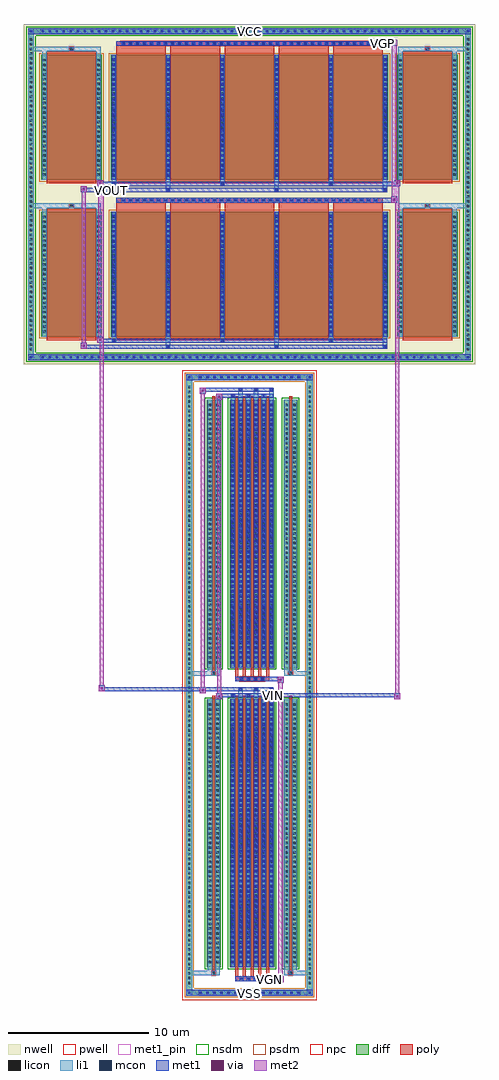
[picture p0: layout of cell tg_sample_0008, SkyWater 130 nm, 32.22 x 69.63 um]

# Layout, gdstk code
import gdstk
lib = gdstk.Library(unit=1e-6, precision=5e-09)
def R(c, l, rs):  # rectangles x0, y0, x1, y1
    for r in rs: c.add(gdstk.rectangle(r[:2], r[2:], *l))
def A(c, l, x, y, w, h, nx, ny, dx, dy):  # array of equal rectangles
    R(c, l, [(x+i*dx, y+j*dy, x+i*dx+w, y+j*dy+h) for i in range(nx) for j in range(ny)])
def P(c, l, *ps):  # polygons
    for p in ps: c.add(gdstk.Polygon(p, *l))
nwell = (64, 20)
pwell = (64, 44)
diff = (65, 20)
poly = (66, 20)
licon = (66, 44)
li1 = (67, 20)
mcon = (67, 44)
met1_pin = (68, 16)
met1 = (68, 20)
via = (68, 44)
met2 = (69, 20)
nsdm = (93, 44)
psdm = (94, 20)
npc = (95, 20)

tg_sample_0008 = lib.new_cell('tg_sample_0008')
R(tg_sample_0008, nwell, [(-16.11,22.87,16.11,47.16)])
R(tg_sample_0008, pwell, [(-4.81,-22.47,4.81,22.47)])
A(tg_sample_0008, diff, -3.705, -22.16, 0.41, 0.41, 15, 2, 0.5, 43.91)
A(tg_sample_0008, diff, -4.5, -21.455, 0.41, 0.41, 1, 126, 0, 0.34)
A(tg_sample_0008, diff, 4.09, -21.455, 0.41, 0.41, 1, 126, 0, 0.34)
A(tg_sample_0008, diff, -14.955, 23.18, 0.41, 0.41, 60, 2, 0.5, 23.26)
A(tg_sample_0008, diff, -15.8, 23.76, 0.41, 0.41, 1, 66, 0, 0.34)
A(tg_sample_0008, diff, 15.39, 23.76, 0.41, 0.41, 1, 66, 0, 0.34)
R(tg_sample_0008, diff, [(-3.705,-22.16,3.705,-21.75), (-4.5,-21.455,-4.09,21.455), (4.09,-21.455,4.5,21.455), (-3.05,-20.135,-2.05,-1.025), (-1.41,-20.135,1.79,-1.025), (2.43,-20.135,3.43,-1.025), (-3.05,1.245,-2.05,20.355), (-1.41,1.245,1.79,20.355), (2.43,1.245,3.43,20.355), (-3.705,21.75,3.705,22.16), (-14.955,23.18,14.955,23.59), (-15.8,23.76,-15.39,46.27), (15.39,23.76,15.8,46.27), (-14.86,24.855,-10.54,33.775), (-9.9,24.855,9.9,33.775), (10.54,24.855,14.86,33.775), (-14.86,36.035,-10.54,44.955), (-9.9,36.035,9.9,44.955), (10.54,36.035,14.86,44.955), (-14.955,46.44,14.955,46.85)])
P(tg_sample_0008, diff, [(4.5,22.16),(-4.5,22.16),(-4.5,-21.75),(-4.09,-21.75),(-4.09,21.75),(4.09,21.75),(4.09,-21.75),(-4.09,-21.75),(-4.5,-21.75),(-4.5,-22.16),(4.5,-22.16)],
  [(15.8,23.18),(-15.8,23.18),(-15.8,46.44),(-15.39,46.44),(-15.39,23.59),(15.39,23.59),(15.39,46.44),(-15.39,46.44),(-15.8,46.44),(-15.8,46.85),(15.8,46.85)])
A(tg_sample_0008, poly, -0.725, -21.12, 0.33, 0.33, 4, 2, 0.5, 21.38)
A(tg_sample_0008, poly, -1.02, -20.79, 0.22, 0.405, 5, 2, 0.55, 21.38)
A(tg_sample_0008, poly, -1.02, -20.385, 0.22, 19.61, 5, 2, 0.55, 21.38)
A(tg_sample_0008, poly, -9.51, 24.605, 3.54, 9.42, 5, 2, 3.87, 11.18)
A(tg_sample_0008, poly, -9.51, 34.025, 3.54, 0.4, 5, 2, 3.87, 11.18)
A(tg_sample_0008, poly, -9.165, 34.425, 0.33, 0.33, 37, 2, 0.5, 11.18)
R(tg_sample_0008, poly, [(-1.02,-21.12,1.4,-20.79), (-2.715,-20.715,-2.385,-20.385), (-2.715,-20.715,-2.385,-20.385), (2.765,-20.715,3.095,-20.385), (2.765,-20.715,3.095,-20.385), (-2.66,-20.385,-2.44,-0.775), (2.82,-20.385,3.04,-0.775), (-1.02,0.26,1.4,0.59), (-2.715,0.665,-2.385,0.995), (-2.715,0.665,-2.385,0.995), (2.765,0.665,3.095,0.995), (2.765,0.665,3.095,0.995), (-2.66,0.995,-2.44,20.605), (2.82,0.995,3.04,20.605), (-14.47,24.605,-10.93,34.025), (10.93,24.605,14.47,34.025), (-12.865,34.025,-12.535,34.355), (-12.865,34.025,-12.535,34.355), (12.535,34.025,12.865,34.355), (12.535,34.025,12.865,34.355), (-9.51,34.425,9.51,34.755), (-14.47,35.785,-10.93,45.205), (10.93,35.785,14.47,45.205), (-12.865,45.205,-12.535,45.535), (-12.865,45.205,-12.535,45.535), (12.535,45.205,12.865,45.535), (12.535,45.205,12.865,45.535), (-9.51,45.605,9.51,45.935)])
A(tg_sample_0008, licon, -3.585, -22.04, 0.17, 0.17, 15, 2, 0.5, 43.91)
A(tg_sample_0008, licon, -4.38, -21.335, 0.17, 0.17, 1, 126, 0, 0.34)
A(tg_sample_0008, licon, 4.21, -21.335, 0.17, 0.17, 1, 126, 0, 0.34)
A(tg_sample_0008, licon, -0.645, -21.04, 0.17, 0.17, 4, 2, 0.5, 21.38)
A(tg_sample_0008, licon, -2.91, -19.845, 0.17, 0.17, 1, 55, 0, 0.34)
A(tg_sample_0008, licon, -2.36, -19.845, 0.17, 0.17, 1, 55, 0, 0.34)
A(tg_sample_0008, licon, -1.27, -19.845, 0.17, 0.17, 6, 55, 0.55, 0.34)
A(tg_sample_0008, licon, 2.57, -19.845, 0.17, 0.17, 1, 55, 0, 0.34)
A(tg_sample_0008, licon, 3.12, -19.845, 0.17, 0.17, 1, 55, 0, 0.34)
A(tg_sample_0008, licon, -2.91, 1.535, 0.17, 0.17, 1, 55, 0, 0.34)
A(tg_sample_0008, licon, -2.36, 1.535, 0.17, 0.17, 1, 55, 0, 0.34)
A(tg_sample_0008, licon, -1.27, 1.535, 0.17, 0.17, 6, 55, 0.55, 0.34)
A(tg_sample_0008, licon, 2.57, 1.535, 0.17, 0.17, 1, 55, 0, 0.34)
A(tg_sample_0008, licon, 3.12, 1.535, 0.17, 0.17, 1, 55, 0, 0.34)
A(tg_sample_0008, licon, -14.835, 23.3, 0.17, 0.17, 60, 2, 0.5, 23.26)
A(tg_sample_0008, licon, -15.68, 23.88, 0.17, 0.17, 1, 66, 0, 0.34)
A(tg_sample_0008, licon, 15.51, 23.88, 0.17, 0.17, 1, 66, 0, 0.34)
A(tg_sample_0008, licon, -14.72, 25.15, 0.17, 0.17, 1, 25, 0, 0.34)
A(tg_sample_0008, licon, -10.85, 25.15, 0.17, 0.17, 1, 25, 0, 0.34)
A(tg_sample_0008, licon, -9.76, 25.15, 0.17, 0.17, 6, 25, 3.87, 0.34)
A(tg_sample_0008, licon, 10.68, 25.15, 0.17, 0.17, 1, 25, 0, 0.34)
A(tg_sample_0008, licon, 14.55, 25.15, 0.17, 0.17, 1, 25, 0, 0.34)
A(tg_sample_0008, licon, -9.085, 34.505, 0.17, 0.17, 37, 2, 0.5, 11.18)
A(tg_sample_0008, licon, -14.72, 36.33, 0.17, 0.17, 1, 25, 0, 0.34)
A(tg_sample_0008, licon, -10.85, 36.33, 0.17, 0.17, 1, 25, 0, 0.34)
A(tg_sample_0008, licon, -9.76, 36.33, 0.17, 0.17, 6, 25, 3.87, 0.34)
A(tg_sample_0008, licon, 10.68, 36.33, 0.17, 0.17, 1, 25, 0, 0.34)
A(tg_sample_0008, licon, 14.55, 36.33, 0.17, 0.17, 1, 25, 0, 0.34)
R(tg_sample_0008, licon, [(-2.635,-20.635,-2.465,-20.465), (2.845,-20.635,3.015,-20.465), (-2.635,0.745,-2.465,0.915), (2.845,0.745,3.015,0.915), (-12.785,34.105,-12.615,34.275), (12.615,34.105,12.785,34.275), (-12.785,45.285,-12.615,45.455), (12.615,45.285,12.785,45.455)])
A(tg_sample_0008, li1, -3.665, -22.12, 0.33, 0.33, 15, 2, 0.5, 43.91)
A(tg_sample_0008, li1, -4.46, -21.415, 0.33, 0.33, 1, 126, 0, 0.34)
A(tg_sample_0008, li1, 4.13, -21.415, 0.33, 0.33, 1, 126, 0, 0.34)
A(tg_sample_0008, li1, -0.725, -21.12, 0.33, 0.33, 4, 2, 0.5, 21.38)
A(tg_sample_0008, li1, -1.35, -20.135, 0.33, 19.11, 6, 2, 0.55, 21.38)
A(tg_sample_0008, li1, -2.99, -19.925, 0.33, 0.33, 1, 55, 0, 0.34)
A(tg_sample_0008, li1, -2.44, -19.925, 0.33, 0.33, 1, 55, 0, 0.34)
A(tg_sample_0008, li1, -1.35, -19.925, 0.33, 0.33, 6, 55, 0.55, 0.34)
A(tg_sample_0008, li1, 2.49, -19.925, 0.33, 0.33, 1, 55, 0, 0.34)
A(tg_sample_0008, li1, 3.04, -19.925, 0.33, 0.33, 1, 55, 0, 0.34)
A(tg_sample_0008, li1, -1.27, -19.845, 0.17, 0.17, 6, 52, 0.55, 0.36)
A(tg_sample_0008, li1, -1.27, -19.845, 0.17, 18.53, 6, 2, 0.55, 21.38)
A(tg_sample_0008, li1, -1.35, -1.025, 0.33, 0.375, 3, 2, 1.1, 21.38)
A(tg_sample_0008, li1, -0.8, -1.025, 0.33, 0.805, 3, 2, 1.1, 21.38)
A(tg_sample_0008, li1, -1.27, -0.82, 0.17, 0.17, 3, 2, 1.1, 21.38)
A(tg_sample_0008, li1, -0.72, -0.39, 0.17, 0.17, 3, 2, 1.1, 21.38)
A(tg_sample_0008, li1, -2.99, 1.455, 0.33, 0.33, 1, 55, 0, 0.34)
A(tg_sample_0008, li1, -2.44, 1.455, 0.33, 0.33, 1, 55, 0, 0.34)
A(tg_sample_0008, li1, -1.35, 1.455, 0.33, 0.33, 6, 55, 0.55, 0.34)
A(tg_sample_0008, li1, 2.49, 1.455, 0.33, 0.33, 1, 55, 0, 0.34)
A(tg_sample_0008, li1, 3.04, 1.455, 0.33, 0.33, 1, 55, 0, 0.34)
A(tg_sample_0008, li1, -1.27, 1.535, 0.17, 0.17, 6, 52, 0.55, 0.36)
A(tg_sample_0008, li1, -14.915, 23.22, 0.33, 0.33, 60, 2, 0.5, 23.26)
A(tg_sample_0008, li1, -15.76, 23.8, 0.33, 0.33, 1, 66, 0, 0.34)
A(tg_sample_0008, li1, 15.43, 23.8, 0.33, 0.33, 1, 66, 0, 0.34)
A(tg_sample_0008, li1, -5.97, 24.05, 0.33, 0.805, 3, 2, 7.74, 11.18)
A(tg_sample_0008, li1, -5.89, 24.05, 0.17, 0.17, 3, 2, 7.74, 11.18)
A(tg_sample_0008, li1, -9.84, 24.48, 0.33, 0.375, 3, 2, 7.74, 11.18)
A(tg_sample_0008, li1, -9.76, 24.48, 0.17, 0.17, 3, 2, 7.74, 11.18)
A(tg_sample_0008, li1, -9.84, 24.855, 0.33, 8.92, 6, 2, 3.87, 11.18)
A(tg_sample_0008, li1, -14.8, 25.07, 0.33, 0.33, 1, 25, 0, 0.34)
A(tg_sample_0008, li1, -10.93, 25.07, 0.33, 0.33, 1, 25, 0, 0.34)
A(tg_sample_0008, li1, -9.84, 25.07, 0.33, 0.33, 6, 25, 3.87, 0.34)
A(tg_sample_0008, li1, 10.6, 25.07, 0.33, 0.33, 1, 25, 0, 0.34)
A(tg_sample_0008, li1, 14.47, 25.07, 0.33, 0.33, 1, 25, 0, 0.34)
A(tg_sample_0008, li1, -9.76, 25.09, 0.17, 0.17, 6, 24, 3.87, 0.36)
A(tg_sample_0008, li1, -9.76, 25.09, 0.17, 8.45, 6, 2, 3.87, 11.18)
A(tg_sample_0008, li1, -9.165, 34.425, 0.33, 0.33, 37, 2, 0.5, 11.18)
A(tg_sample_0008, li1, -14.8, 36.25, 0.33, 0.33, 1, 25, 0, 0.34)
A(tg_sample_0008, li1, -10.93, 36.25, 0.33, 0.33, 1, 25, 0, 0.34)
A(tg_sample_0008, li1, -9.84, 36.25, 0.33, 0.33, 6, 25, 3.87, 0.34)
A(tg_sample_0008, li1, 10.6, 36.25, 0.33, 0.33, 1, 25, 0, 0.34)
A(tg_sample_0008, li1, 14.47, 36.25, 0.33, 0.33, 1, 25, 0, 0.34)
A(tg_sample_0008, li1, -9.76, 36.27, 0.17, 0.17, 6, 24, 3.87, 0.36)
R(tg_sample_0008, li1, [(-4.5,-22.16,-4.09,-21.75), (4.09,-22.16,4.5,-21.75), (-3.665,-22.12,3.665,-21.79), (-4.38,-22.04,-4.21,-21.87), (-4.38,-22.04,-4.21,-21.87), (4.21,-22.04,4.38,-21.87), (4.21,-22.04,4.38,-21.87), (-4.5,-21.75,-4.09,21.75), (4.09,-21.75,4.5,21.75), (-4.5,-20.715,-2.715,-20.385), (-2.99,-20.715,-2.715,-20.385), (-2.99,-20.715,-2.66,-20.135), (-2.715,-20.715,-2.385,-20.385), (-2.44,-20.715,-2.11,-20.135), (-2.385,-20.715,-2.11,-20.385), (2.49,-20.715,2.765,-20.385), (2.49,-20.715,2.82,-20.135), (2.765,-20.715,3.095,-20.385), (2.765,-20.715,4.5,-20.385), (3.04,-20.715,3.37,-20.135), (3.095,-20.715,3.37,-20.385), (-2.99,-20.135,-2.66,-1.025), (-2.44,-20.135,-2.11,-1.025), (2.49,-20.135,2.82,-1.025), (3.04,-20.135,3.37,-1.025), (-4.5,0.665,-2.715,0.995), (-2.99,0.665,-2.715,0.995), (-2.99,0.665,-2.66,1.245), (-2.715,0.665,-2.385,0.995), (-2.44,0.665,-2.11,1.245), (-2.385,0.665,-2.11,0.995), (2.49,0.665,2.765,0.995), (2.49,0.665,2.82,1.245), (2.765,0.665,3.095,0.995), (2.765,0.665,4.5,0.995), (3.04,0.665,3.37,1.245), (3.095,0.665,3.37,0.995), (-2.99,1.245,-2.66,20.355), (-2.44,1.245,-2.11,20.355), (2.49,1.245,2.82,20.355), (3.04,1.245,3.37,20.355), (-4.5,21.75,-4.09,22.16), (4.09,21.75,4.5,22.16), (-3.665,21.79,3.665,22.12), (-4.38,21.87,-4.21,22.04), (-4.38,21.87,-4.21,22.04), (4.21,21.87,4.38,22.04), (4.21,21.87,4.38,22.04), (-15.8,23.18,-15.39,23.59), (15.39,23.18,15.8,23.59), (-14.915,23.22,14.915,23.55), (-15.68,23.3,-15.51,23.47), (-15.68,23.3,-15.51,23.47), (15.51,23.3,15.68,23.47), (15.51,23.3,15.68,23.47), (-15.8,23.59,-15.39,46.44), (15.39,23.59,15.8,46.44), (-14.8,24.855,-14.47,33.775), (-10.93,24.855,-10.6,33.775), (10.6,24.855,10.93,33.775), (14.47,24.855,14.8,33.775), (-14.8,33.775,-14.47,34.355), (-10.93,33.775,-10.6,34.355), (10.6,33.775,10.93,34.355), (14.47,33.775,14.8,34.355), (-15.8,34.025,-12.865,34.355), (-14.8,34.025,-12.865,34.355), (-12.865,34.025,-12.535,34.355), (-12.535,34.025,-10.6,34.355), (10.6,34.025,12.535,34.355), (12.535,34.025,12.865,34.355), (12.535,34.025,15.8,34.355), (12.865,34.025,14.8,34.355), (-14.8,36.035,-14.47,44.955), (-10.93,36.035,-10.6,44.955), (10.6,36.035,10.93,44.955), (14.47,36.035,14.8,44.955), (-14.8,44.955,-14.47,45.535), (-10.93,44.955,-10.6,45.535), (10.6,44.955,10.93,45.535), (14.47,44.955,14.8,45.535), (-15.8,45.205,-12.865,45.535), (-14.8,45.205,-12.865,45.535), (-12.865,45.205,-12.535,45.535), (-12.535,45.205,-10.6,45.535), (10.6,45.205,12.535,45.535), (12.535,45.205,12.865,45.535), (12.535,45.205,15.8,45.535), (12.865,45.205,14.8,45.535), (-15.8,46.44,-15.39,46.85), (15.39,46.44,15.8,46.85), (-14.915,46.48,14.915,46.81), (-15.68,46.56,-15.51,46.73), (-15.68,46.56,-15.51,46.73), (15.51,46.56,15.68,46.73), (15.51,46.56,15.68,46.73)])
A(tg_sample_0008, mcon, -3.585, -22.04, 0.17, 0.17, 15, 2, 0.5, 43.91)
A(tg_sample_0008, mcon, -0.645, -21.04, 0.17, 0.17, 4, 2, 0.5, 21.38)
A(tg_sample_0008, mcon, -1.27, -19.845, 0.17, 0.17, 6, 52, 0.55, 0.36)
A(tg_sample_0008, mcon, -1.27, -0.82, 0.17, 0.17, 3, 2, 1.1, 21.38)
A(tg_sample_0008, mcon, -0.72, -0.39, 0.17, 0.17, 3, 2, 1.1, 21.38)
A(tg_sample_0008, mcon, -1.27, 1.535, 0.17, 0.17, 6, 52, 0.55, 0.36)
A(tg_sample_0008, mcon, -14.835, 23.3, 0.17, 0.17, 60, 2, 0.5, 23.26)
A(tg_sample_0008, mcon, -5.89, 24.05, 0.17, 0.17, 3, 2, 7.74, 11.18)
A(tg_sample_0008, mcon, -9.76, 24.48, 0.17, 0.17, 3, 2, 7.74, 11.18)
A(tg_sample_0008, mcon, -9.76, 25.09, 0.17, 0.17, 6, 24, 3.87, 0.36)
A(tg_sample_0008, mcon, -9.085, 34.505, 0.17, 0.17, 37, 2, 0.5, 11.18)
A(tg_sample_0008, mcon, -9.76, 36.27, 0.17, 0.17, 6, 24, 3.87, 0.36)
R(tg_sample_0008, mcon, [(-4.38,-22.04,-4.21,-21.87), (4.21,-22.04,4.38,-21.87), (-4.38,21.87,-4.21,22.04), (4.21,21.87,4.38,22.04), (-15.68,23.3,-15.51,23.47), (15.51,23.3,15.68,23.47), (-15.68,46.56,-15.51,46.73), (15.51,46.56,15.68,46.73)])
R(tg_sample_0008, met1_pin, [(-0.25,-22.25,0.25,-21.75), (1.265,-21.12,1.535,-20.85), (1.575,-0.88,1.845,-0.61), (-9.955,35.17,-9.685,35.44), (9.375,45.605,9.645,45.875), (-0.25,46.35,0.25,46.85)])
A(tg_sample_0008, met1, -3.645, -22.1, 0.29, 0.29, 15, 2, 0.5, 43.91)
A(tg_sample_0008, met1, -0.705, -21.1, 0.29, 0.29, 4, 2, 0.5, 21.38)
A(tg_sample_0008, met1, -1.33, -20.135, 0.29, 19.11, 6, 2, 0.55, 21.38)
A(tg_sample_0008, met1, -1.33, -19.905, 0.29, 0.29, 6, 52, 0.55, 0.36)
A(tg_sample_0008, met1, -1.33, -0.88, 0.29, 0.29, 3, 2, 1.1, 21.38)
A(tg_sample_0008, met1, -0.78, -0.45, 0.29, 0.29, 3, 2, 1.1, 21.38)
A(tg_sample_0008, met1, -1.33, 1.475, 0.29, 0.29, 6, 52, 0.55, 0.36)
A(tg_sample_0008, met1, -14.895, 23.24, 0.29, 0.29, 60, 2, 0.5, 23.26)
A(tg_sample_0008, met1, -5.95, 23.99, 0.29, 0.29, 3, 2, 7.74, 11.18)
A(tg_sample_0008, met1, -9.82, 24.42, 0.29, 0.29, 3, 2, 7.74, 11.18)
A(tg_sample_0008, met1, -9.82, 24.855, 0.29, 8.92, 6, 2, 3.87, 11.18)
A(tg_sample_0008, met1, -9.82, 25.03, 0.29, 0.29, 6, 24, 3.87, 0.36)
A(tg_sample_0008, met1, -9.145, 34.445, 0.29, 0.29, 37, 2, 0.5, 11.18)
A(tg_sample_0008, met1, -9.82, 36.21, 0.29, 0.29, 6, 24, 3.87, 0.36)
R(tg_sample_0008, met1, [(-4.5,-22.16,-4.09,-21.75), (-4.5,-22.16,-4.09,-21.75), (-4.09,-22.16,4.09,-21.75), (4.09,-22.16,4.5,-21.75), (4.09,-22.16,4.5,-21.75), (-4.44,-22.1,-4.15,-21.81), (4.15,-22.1,4.44,-21.81), (2,-21.22,2.43,-20.79), (-1.02,-21.12,1.4,-20.79), (1.4,-21.12,2.43,-20.79), (-2.36,-1.02,-1.93,-0.59), (10.32,-1.02,10.75,-0.59), (-2.36,-0.88,-1.33,-0.59), (-1.33,-0.88,1.71,-0.59), (1.71,-0.88,10.75,-0.59), (-3.56,-0.59,-3.13,-0.16), (-10.75,-0.45,-10.32,-0.02), (-10.75,-0.45,-1.33,-0.16), (-3.56,-0.45,-1.33,-0.16), (-1.33,-0.45,1.71,-0.16), (2,0.16,2.43,0.59), (-1.02,0.26,1.4,0.59), (1.4,0.26,2.43,0.59), (-2.36,20.36,-1.93,20.79), (-2.36,20.5,-1.33,20.79), (-1.33,20.5,1.71,20.79), (-3.56,20.79,-3.13,21.22), (-3.56,20.93,-1.33,21.22), (-1.33,20.93,1.71,21.22), (-4.5,21.75,-4.09,22.16), (-4.5,21.75,-4.09,22.16), (-4.09,21.75,4.09,22.16), (4.09,21.75,4.5,22.16), (4.09,21.75,4.5,22.16), (-4.44,21.81,-4.15,22.1), (4.15,21.81,4.44,22.1), (-15.8,23.18,-15.39,23.59), (-15.8,23.18,-15.39,23.59), (-15.39,23.18,15.39,23.59), (15.39,23.18,15.8,23.59), (15.39,23.18,15.8,23.59), (-15.74,23.24,-15.45,23.53), (15.45,23.24,15.74,23.53), (-12.05,23.99,-11.62,24.42), (-12.05,23.99,-9.82,24.28), (-9.82,23.99,9.82,24.28), (-10.85,24.42,-10.42,24.85), (-10.85,24.42,-9.82,24.71), (-9.82,24.42,9.82,24.71), (-9.51,34.425,9.51,34.755), (9.51,34.425,10.54,34.755), (10.11,34.425,10.54,34.855), (-10.75,35.03,-10.32,35.46), (-12.05,35.17,-11.62,35.6), (-12.05,35.17,-9.82,35.46), (-10.75,35.17,-9.82,35.46), (-9.82,35.17,9.82,35.46), (-10.85,35.6,-10.42,36.03), (-10.85,35.6,-9.82,35.89), (-9.82,35.6,9.82,35.89), (9.82,35.6,10.75,35.89), (10.32,35.6,10.75,36.03), (-9.51,45.605,9.51,45.935), (9.51,45.605,10.54,45.935), (10.11,45.605,10.54,46.035), (-15.8,46.44,-15.39,46.85), (-15.8,46.44,-15.39,46.85), (-15.39,46.44,15.39,46.85), (15.39,46.44,15.8,46.85), (15.39,46.44,15.8,46.85), (-15.74,46.5,-15.45,46.79), (15.45,46.5,15.74,46.79)])
R(tg_sample_0008, via, [(2.14,-21.08,2.29,-20.93), (-2.22,-0.88,-2.07,-0.73), (10.46,-0.88,10.61,-0.73), (-3.42,-0.45,-3.27,-0.3), (-10.61,-0.31,-10.46,-0.16), (2.14,0.3,2.29,0.45), (-2.22,20.5,-2.07,20.65), (-3.42,20.93,-3.27,21.08), (-11.91,24.13,-11.76,24.28), (-10.71,24.56,-10.56,24.71), (10.25,34.565,10.4,34.715), (-10.61,35.17,-10.46,35.32), (-11.91,35.31,-11.76,35.46), (-10.71,35.74,-10.56,35.89), (10.46,35.74,10.61,35.89), (10.25,45.745,10.4,45.895)])
R(tg_sample_0008, met2, [(2,-21.22,2.43,-20.79), (2.05,-21.22,2.38,0.59), (2.38,-21.22,2.43,-20.79), (2.05,-21.17,2.38,-20.84), (-2.36,-1.02,-1.93,-0.59), (-2.29,-1.02,-2,20.79), (-2,-1.02,-1.93,-0.59), (10.32,-1.02,10.75,-0.59), (10.39,-1.02,10.68,36.03), (10.68,-1.02,10.75,-0.59), (-2.31,-0.97,-1.98,-0.64), (10.37,-0.97,10.7,-0.64), (-3.56,-0.59,-3.13,-0.16), (-3.49,-0.59,-3.2,21.22), (-3.2,-0.59,-3.13,-0.16), (-3.51,-0.54,-3.18,-0.21), (-10.75,-0.45,-10.32,-0.02), (-10.68,-0.45,-10.39,35.46), (-10.39,-0.45,-10.32,-0.02), (-10.7,-0.4,-10.37,-0.07), (2,0.16,2.43,0.59), (2.38,0.16,2.43,0.59), (2.05,0.21,2.38,0.54), (-2.36,20.36,-1.93,20.79), (-2,20.36,-1.93,20.79), (-2.31,20.41,-1.98,20.74), (-3.56,20.79,-3.13,21.22), (-3.2,20.79,-3.13,21.22), (-3.51,20.84,-3.18,21.17), (-12.05,23.99,-11.62,24.42), (-11.98,23.99,-11.69,35.6), (-11.69,23.99,-11.62,24.42), (-12,24.04,-11.67,24.37), (-10.85,24.42,-10.42,24.85), (-10.78,24.42,-10.49,36.03), (-10.49,24.42,-10.42,24.85), (-10.8,24.47,-10.47,24.8), (10.11,34.425,10.54,34.855), (10.16,34.425,10.49,46.035), (10.49,34.425,10.54,34.855), (10.16,34.475,10.49,34.805), (-10.75,35.03,-10.32,35.46), (-10.39,35.03,-10.32,35.46), (-10.7,35.08,-10.37,35.41), (-12.05,35.17,-11.62,35.6), (-11.69,35.17,-11.62,35.6), (-12,35.22,-11.67,35.55), (-10.85,35.6,-10.42,36.03), (-10.49,35.6,-10.42,36.03), (10.32,35.6,10.75,36.03), (10.68,35.6,10.75,36.03), (-10.8,35.65,-10.47,35.98), (10.37,35.65,10.7,35.98), (10.11,45.605,10.54,46.035), (10.49,45.605,10.54,46.035), (10.16,45.655,10.49,45.985)])
R(tg_sample_0008, nsdm, [(-3.18,-20.265,-1.92,-0.895), (-1.54,-20.265,1.92,-0.895), (2.3,-20.265,3.56,-0.895), (-3.18,1.115,-1.92,20.485), (-1.54,1.115,1.92,20.485), (2.3,1.115,3.56,20.485)])
P(tg_sample_0008, nsdm, [(15.93,23.05),(-15.93,23.05),(-15.93,46.31),(-15.26,46.31),(-15.26,23.72),(15.26,23.72),(15.26,46.31),(-15.26,46.31),(-15.93,46.31),(-15.93,46.98),(15.93,46.98)])
R(tg_sample_0008, psdm, [(-14.99,24.725,-10.41,33.905), (-10.03,24.725,10.03,33.905), (10.41,24.725,14.99,33.905), (-14.99,35.905,-10.41,45.085), (-10.03,35.905,10.03,45.085), (10.41,35.905,14.99,45.085)])
P(tg_sample_0008, psdm, [(4.63,22.29),(-4.63,22.29),(-4.63,-21.62),(-3.96,-21.62),(-3.96,21.62),(3.96,21.62),(3.96,-21.62),(-3.96,-21.62),(-4.63,-21.62),(-4.63,-22.29),(4.63,-22.29)])
A(tg_sample_0008, npc, -0.745, -21.14, 0.37, 0.37, 4, 2, 0.5, 21.38)
A(tg_sample_0008, npc, -9.185, 34.405, 0.37, 0.37, 37, 2, 0.5, 11.18)
R(tg_sample_0008, npc, [(-0.745,-21.14,0.125,-20.77), (-0.745,-21.14,0.125,-20.77), (-0.245,-21.14,0.625,-20.77), (-0.245,-21.14,0.625,-20.77), (0.255,-21.14,1.125,-20.77), (0.255,-21.14,1.125,-20.77), (-2.735,-20.735,-2.365,-20.365), (2.745,-20.735,3.115,-20.365), (-0.745,0.24,0.125,0.61), (-0.745,0.24,0.125,0.61), (-0.245,0.24,0.625,0.61), (-0.245,0.24,0.625,0.61), (0.255,0.24,1.125,0.61), (0.255,0.24,1.125,0.61), (-2.735,0.645,-2.365,1.015), (2.745,0.645,3.115,1.015), (-12.885,34.005,-12.515,34.375), (12.515,34.005,12.885,34.375), (-9.185,34.405,-8.315,34.775), (-9.185,34.405,-8.315,34.775), (-8.685,34.405,-7.815,34.775), (-8.685,34.405,-7.815,34.775), (-8.185,34.405,-7.315,34.775), (-8.185,34.405,-7.315,34.775), (-7.685,34.405,-6.815,34.775), (-7.685,34.405,-6.815,34.775), (-7.185,34.405,-6.315,34.775), (-7.185,34.405,-6.315,34.775), (-6.685,34.405,-5.815,34.775), (-6.685,34.405,-5.815,34.775), (-6.185,34.405,-5.315,34.775), (-6.185,34.405,-5.315,34.775), (-5.685,34.405,-4.815,34.775), (-5.685,34.405,-4.815,34.775), (-5.185,34.405,-4.315,34.775), (-5.185,34.405,-4.315,34.775), (-4.685,34.405,-3.815,34.775), (-4.685,34.405,-3.815,34.775), (-4.185,34.405,-3.315,34.775), (-4.185,34.405,-3.315,34.775), (-3.685,34.405,-2.815,34.775), (-3.685,34.405,-2.815,34.775), (-3.185,34.405,-2.315,34.775), (-3.185,34.405,-2.315,34.775), (-2.685,34.405,-1.815,34.775), (-2.685,34.405,-1.815,34.775), (-2.185,34.405,-1.315,34.775), (-2.185,34.405,-1.315,34.775), (-1.685,34.405,-0.815,34.775), (-1.685,34.405,-0.815,34.775), (-1.185,34.405,-0.315,34.775), (-1.185,34.405,-0.315,34.775), (-0.685,34.405,0.185,34.775), (-0.685,34.405,0.185,34.775), (-0.185,34.405,0.685,34.775), (-0.185,34.405,0.685,34.775), (0.315,34.405,1.185,34.775), (0.315,34.405,1.185,34.775), (0.815,34.405,1.685,34.775), (0.815,34.405,1.685,34.775), (1.315,34.405,2.185,34.775), (1.315,34.405,2.185,34.775), (1.815,34.405,2.685,34.775), (1.815,34.405,2.685,34.775), (2.315,34.405,3.185,34.775), (2.315,34.405,3.185,34.775), (2.815,34.405,3.685,34.775), (2.815,34.405,3.685,34.775), (3.315,34.405,4.185,34.775), (3.315,34.405,4.185,34.775), (3.815,34.405,4.685,34.775), (3.815,34.405,4.685,34.775), (4.315,34.405,5.185,34.775), (4.315,34.405,5.185,34.775), (4.815,34.405,5.685,34.775), (4.815,34.405,5.685,34.775), (5.315,34.405,6.185,34.775), (5.315,34.405,6.185,34.775), (5.815,34.405,6.685,34.775), (5.815,34.405,6.685,34.775), (6.315,34.405,7.185,34.775), (6.315,34.405,7.185,34.775), (6.815,34.405,7.685,34.775), (6.815,34.405,7.685,34.775), (7.315,34.405,8.185,34.775), (7.315,34.405,8.185,34.775), (7.815,34.405,8.685,34.775), (7.815,34.405,8.685,34.775), (8.315,34.405,9.185,34.775), (8.315,34.405,9.185,34.775), (-12.885,45.185,-12.515,45.555), (12.515,45.185,12.885,45.555), (-9.185,45.585,-8.315,45.955), (-9.185,45.585,-8.315,45.955), (-8.685,45.585,-7.815,45.955), (-8.685,45.585,-7.815,45.955), (-8.185,45.585,-7.315,45.955), (-8.185,45.585,-7.315,45.955), (-7.685,45.585,-6.815,45.955), (-7.685,45.585,-6.815,45.955), (-7.185,45.585,-6.315,45.955), (-7.185,45.585,-6.315,45.955), (-6.685,45.585,-5.815,45.955), (-6.685,45.585,-5.815,45.955), (-6.185,45.585,-5.315,45.955), (-6.185,45.585,-5.315,45.955), (-5.685,45.585,-4.815,45.955), (-5.685,45.585,-4.815,45.955), (-5.185,45.585,-4.315,45.955), (-5.185,45.585,-4.315,45.955), (-4.685,45.585,-3.815,45.955), (-4.685,45.585,-3.815,45.955), (-4.185,45.585,-3.315,45.955), (-4.185,45.585,-3.315,45.955), (-3.685,45.585,-2.815,45.955), (-3.685,45.585,-2.815,45.955), (-3.185,45.585,-2.315,45.955), (-3.185,45.585,-2.315,45.955), (-2.685,45.585,-1.815,45.955), (-2.685,45.585,-1.815,45.955), (-2.185,45.585,-1.315,45.955), (-2.185,45.585,-1.315,45.955), (-1.685,45.585,-0.815,45.955), (-1.685,45.585,-0.815,45.955), (-1.185,45.585,-0.315,45.955), (-1.185,45.585,-0.315,45.955), (-0.685,45.585,0.185,45.955), (-0.685,45.585,0.185,45.955), (-0.185,45.585,0.685,45.955), (-0.185,45.585,0.685,45.955), (0.315,45.585,1.185,45.955), (0.315,45.585,1.185,45.955), (0.815,45.585,1.685,45.955), (0.815,45.585,1.685,45.955), (1.315,45.585,2.185,45.955), (1.315,45.585,2.185,45.955), (1.815,45.585,2.685,45.955), (1.815,45.585,2.685,45.955), (2.315,45.585,3.185,45.955), (2.315,45.585,3.185,45.955), (2.815,45.585,3.685,45.955), (2.815,45.585,3.685,45.955), (3.315,45.585,4.185,45.955), (3.315,45.585,4.185,45.955), (3.815,45.585,4.685,45.955), (3.815,45.585,4.685,45.955), (4.315,45.585,5.185,45.955), (4.315,45.585,5.185,45.955), (4.815,45.585,5.685,45.955), (4.815,45.585,5.685,45.955), (5.315,45.585,6.185,45.955), (5.315,45.585,6.185,45.955), (5.815,45.585,6.685,45.955), (5.815,45.585,6.685,45.955), (6.315,45.585,7.185,45.955), (6.315,45.585,7.185,45.955), (6.815,45.585,7.685,45.955), (6.815,45.585,7.685,45.955), (7.315,45.585,8.185,45.955), (7.315,45.585,8.185,45.955), (7.815,45.585,8.685,45.955), (7.815,45.585,8.685,45.955), (8.315,45.585,9.185,45.955), (8.315,45.585,9.185,45.955)])
tg_sample_0008.add(gdstk.Label('VIN', (1.71,-0.745), layer=68, texttype=5))
tg_sample_0008.add(gdstk.Label('VGN', (1.4,-20.985), layer=68, texttype=5))
tg_sample_0008.add(gdstk.Label('VGP', (9.51,45.74), layer=68, texttype=5))
tg_sample_0008.add(gdstk.Label('VSS', (0,-22), layer=68, texttype=5))
tg_sample_0008.add(gdstk.Label('VCC', (0,46.6), layer=68, texttype=5))
tg_sample_0008.add(gdstk.Label('VOUT', (-9.82,35.305), layer=68, texttype=5))

lib.write_gds('tg_sample_0008.gds')
